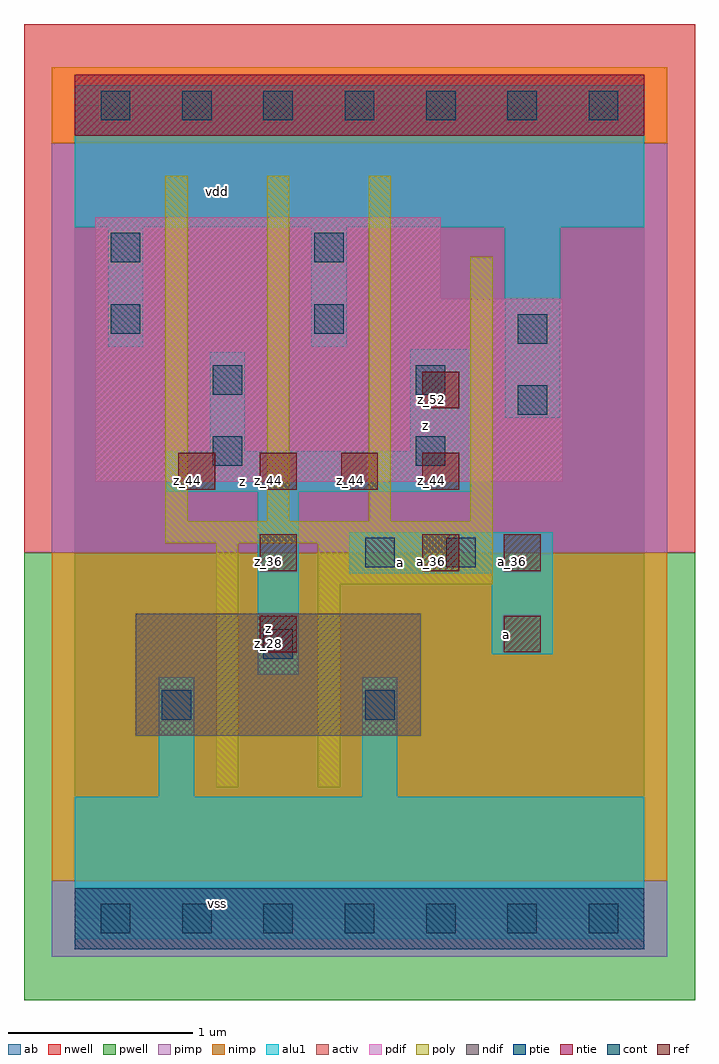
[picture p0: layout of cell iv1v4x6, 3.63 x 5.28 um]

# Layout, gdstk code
import gdstk
lib = gdstk.Library(unit=1e-6, precision=2.5e-09)
def R(c, l, rs):  # rectangles x0, y0, x1, y1
    for r in rs: c.add(gdstk.rectangle(r[:2], r[2:], *l))
def A(c, l, x, y, w, h, nx, ny, dx, dy):  # array of equal rectangles
    R(c, l, [(x+i*dx, y+j*dy, x+i*dx+w, y+j*dy+h) for i in range(nx) for j in range(ny)])
ndif = (3, 0)
pdif = (4, 0)
ntie = (5, 0)
ptie = (6, 0)
ref = (24, 0)
cont = (25, 0)
pwell = (41, 0)
nwell = (42, 0)
activ = (43, 0)
pimp = (44, 0)
nimp = (45, 0)
poly = (46, 0)
alu1 = (49, 0)
ab = (63, 0)

iv1v4x6 = lib.new_cell('iv1v4x6')
R(iv1v4x6, ndif, [(0.33,0.99,1.87,1.65)])
R(iv1v4x6, pdif, [(0.11,2.365,2.64,3.355), (0.11,3.355,1.98,3.795)])
R(iv1v4x6, ntie, [(0,4.235,3.08,4.565)])
R(iv1v4x6, ptie, [(0,-0.165,3.08,0.165)])
A(iv1v4x6, ref, 0.56, 2.32, 0.2, 0.2, 4, 1, 0.44, 0)
R(iv1v4x6, ref, [(1,1.44,1.2,1.64), (2.32,1.44,2.52,1.64), (1,1.88,1.2,2.08), (1.88,1.88,2.08,2.08), (2.32,1.88,2.52,2.08), (1.88,2.76,2.08,2.96)])
A(iv1v4x6, cont, 0.14, -0.08, 0.16, 0.16, 7, 2, 0.44, 4.4)
R(iv1v4x6, cont, [(0.47,1.075,0.63,1.235), (1.57,1.075,1.73,1.235), (1.02,1.405,1.18,1.565), (1.57,1.9,1.73,2.06), (2.01,1.9,2.17,2.06), (0.745,2.45,0.905,2.61), (1.845,2.45,2.005,2.61), (2.395,2.725,2.555,2.885), (0.745,2.835,0.905,2.995), (1.845,2.835,2.005,2.995), (2.395,3.11,2.555,3.27), (0.195,3.165,0.355,3.325), (1.295,3.165,1.455,3.325), (0.195,3.55,0.355,3.71), (1.295,3.55,1.455,3.71)])
R(iv1v4x6, pwell, [(-0.275,-0.44,3.355,1.98)])
R(iv1v4x6, nwell, [(-0.275,1.98,3.355,4.84)])
R(iv1v4x6, activ, [(0,-0.165,3.08,0.165), (0.33,0.99,1.87,1.65), (0.11,2.365,2.64,3.355), (0.11,3.355,1.98,3.795), (0,4.235,3.08,4.565)])
R(iv1v4x6, pimp, [(-0.125,-0.205,3.205,0.205), (-0.125,1.98,3.205,4.195)])
R(iv1v4x6, nimp, [(-0.125,0.205,3.205,1.98), (-0.125,4.195,3.205,4.605)])
A(iv1v4x6, poly, 0.49, 2.15, 0.12, 1.87, 3, 1, 0.55, 0)
R(iv1v4x6, poly, [(0.765,0.71,0.885,2.03), (1.315,0.71,1.435,1.81), (1.315,1.81,2.26,2.03), (0.49,2.03,2.26,2.15), (2.14,2.15,2.26,3.58)])
R(iv1v4x6, alu1, [(0,-0.11,3.08,0.66), (0.455,0.66,0.645,1.305), (1.555,0.66,1.745,1.305), (0.99,1.32,1.21,2.31), (2.255,1.43,2.585,1.87), (1.485,1.87,2.585,2.09), (0.495,2.31,2.145,2.53), (0.73,2.53,0.92,3.065), (1.815,2.53,2.145,3.08), (2.325,2.71,2.625,3.74), (0.18,3.095,0.37,3.74), (1.28,3.095,1.47,3.74), (0,3.74,3.08,4.51)])
R(iv1v4x6, ab, [(0,0,3.08,4.4)])
iv1v4x6.add(gdstk.Label('vss', (0.77,0.0825), layer=49, texttype=0))
iv1v4x6.add(gdstk.Label('a', (2.3375,1.54), layer=49, texttype=0))
iv1v4x6.add(gdstk.Label('a', (1.76,1.925), layer=49, texttype=0))
iv1v4x6.add(gdstk.Label('z', (1.045,1.5675), layer=49, texttype=0))
iv1v4x6.add(gdstk.Label('z', (0.9075,2.365), layer=49, texttype=0))
iv1v4x6.add(gdstk.Label('z', (1.8975,2.6675), layer=49, texttype=0))
iv1v4x6.add(gdstk.Label('vdd', (0.77,3.9325), layer=49, texttype=0))
iv1v4x6.add(gdstk.Label('z_44', (0.61,2.37), layer=24, texttype=0))
iv1v4x6.add(gdstk.Label('z_28', (1.05,1.49), layer=24, texttype=0))
iv1v4x6.add(gdstk.Label('z_36', (1.05,1.93), layer=24, texttype=0))
iv1v4x6.add(gdstk.Label('z_44', (1.05,2.37), layer=24, texttype=0))
iv1v4x6.add(gdstk.Label('z_44', (1.49,2.37), layer=24, texttype=0))
iv1v4x6.add(gdstk.Label('a_36', (1.93,1.93), layer=24, texttype=0))
iv1v4x6.add(gdstk.Label('z_44', (1.93,2.37), layer=24, texttype=0))
iv1v4x6.add(gdstk.Label('z_52', (1.93,2.81), layer=24, texttype=0))
iv1v4x6.add(gdstk.Label('a_28', (2.37,1.49), layer=24, texttype=0))
iv1v4x6.add(gdstk.Label('a_36', (2.37,1.93), layer=24, texttype=0))

lib.write_gds('iv1v4x6.gds')
